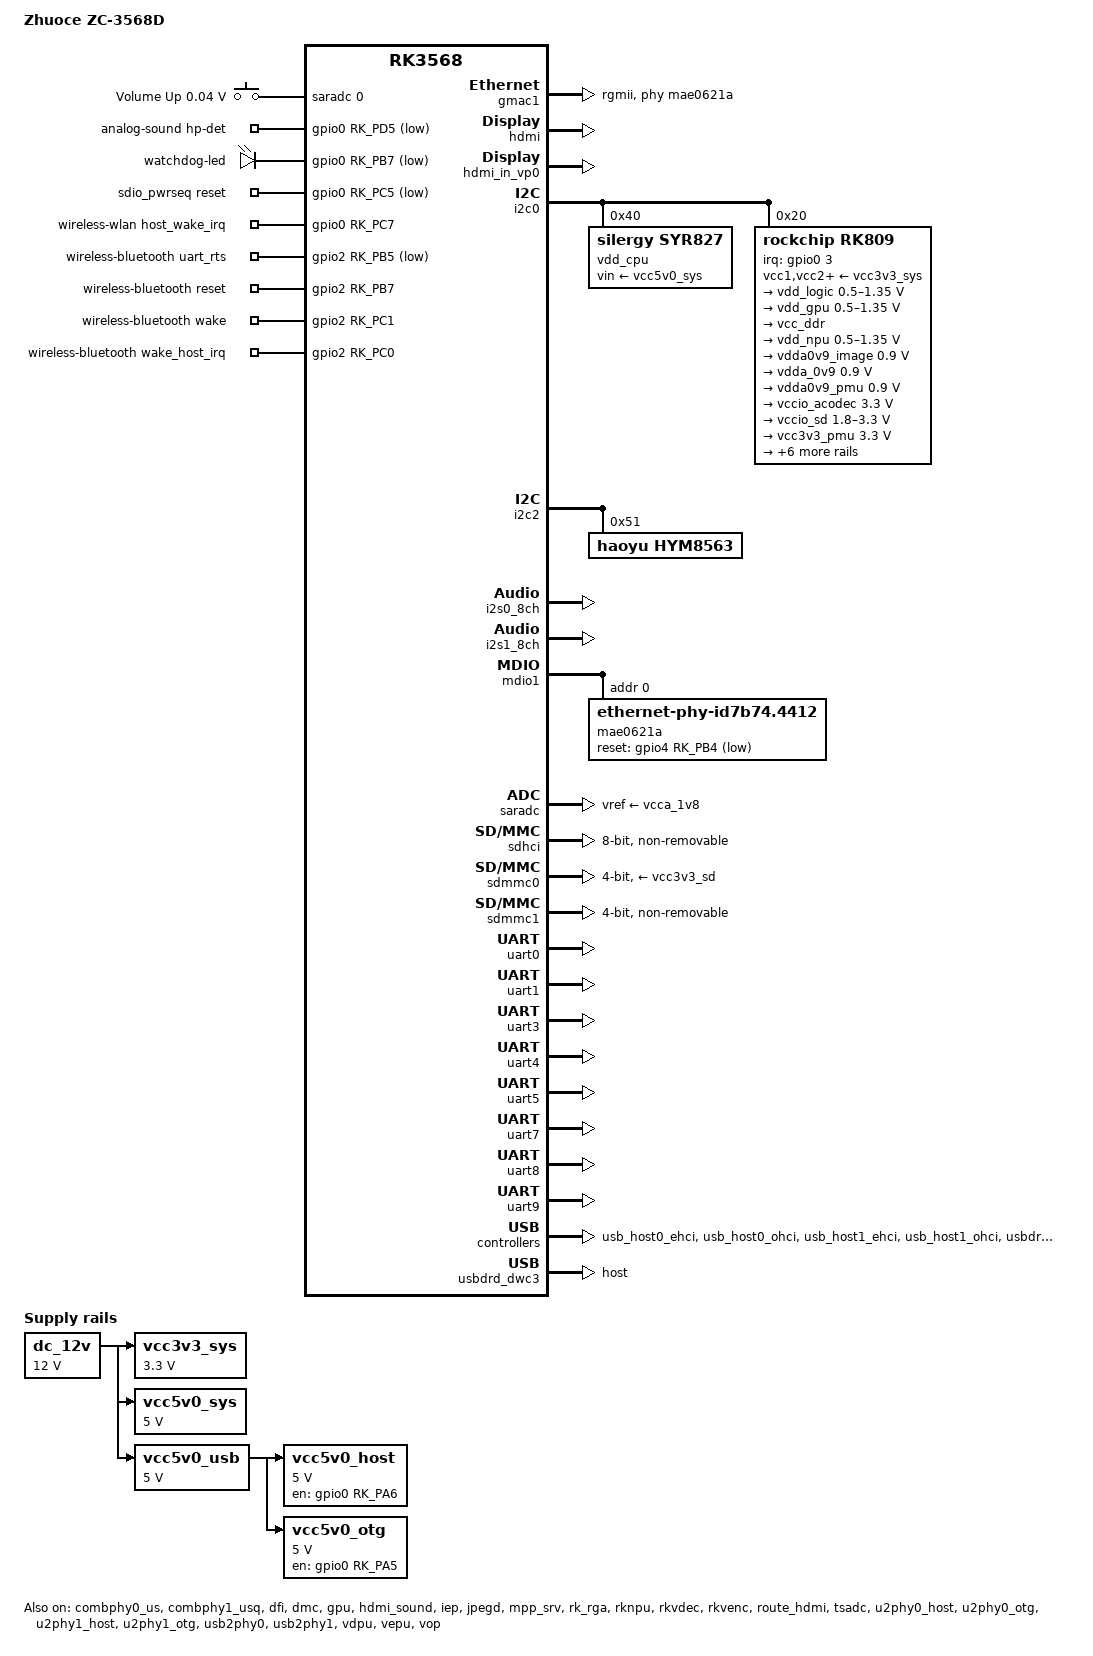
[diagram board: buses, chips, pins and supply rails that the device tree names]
// SPDX-License-Identifier: (GPL-2.0+ OR MIT)
/*
 * Copyright (c) 2022 Fuzhou Rockchip Electronics Co., Ltd.
 * Copyright (c) 2026 retro98boy <retro98boy@qq.com>
 */

/dts-v1/;

#include <dt-bindings/gpio/gpio.h>
#include <dt-bindings/input/input.h>
#include <dt-bindings/pinctrl/rockchip.h>
#include "rk3568.dtsi"
/*
 * Include configurations for the Linux system.
 * Replace this with rk3568-android.dtsi to
 * adapt this DTS for the Android system.
 */
#include "rk3568-linux.dtsi"

#define USE_PANFROST

/ {
	model = "Zhuoce ZC-3568D";
	compatible = "zhuoce,zc-3568d", "rockchip,rk3568";

	adc-keys {
		compatible = "adc-keys";
		io-channels = <&saradc 0>;
		io-channel-names = "buttons";
		keyup-threshold-microvolt = <1800000>;
		poll-interval = <50>;

		button-volume-up {
			label = "Volume Up";
			linux,code = <KEY_VOLUMEUP>;
			press-threshold-microvolt = <40000>;
		};
	};

	aliases {
		/delete-property/ ethernet1;
		ethernet0 = &gmac1;
		rtc0 = &hym8563;
		rtc1 = &rk809;
	};

	analog-sound {
		compatible = "rockchip,multicodecs-card";
		rockchip,card-name = "zc-3568d";
		rockchip,format = "i2s";
		rockchip,mclk-fs = <256>;
		rockchip,cpu = <&i2s1_8ch>;
		rockchip,codec = <&rk809_codec>;
		hp-det-gpio = <&gpio0 RK_PD5 GPIO_ACTIVE_LOW>;
		pinctrl-names = "default";
		pinctrl-0 = <&hp_det>;
	};

	leds {
		compatible = "gpio-leds";

		watchdog-led {
			gpios = <&gpio0 RK_PB7 GPIO_ACTIVE_LOW>;
			linux,default-trigger = "heartbeat";
		};
	};

	sdio_pwrseq: sdio-pwrseq {
		compatible = "mmc-pwrseq-simple";
		clocks = <&rk809 1>;
		clock-names = "ext_clock";
		pinctrl-names = "default";
		pinctrl-0 = <&wifi_enable_h>;

		reset-gpios = <&gpio0 RK_PC5 GPIO_ACTIVE_LOW>;
		post-power-on-delay-ms = <200>;
	};

	wireless-wlan {
		compatible = "wlan-platdata";
		rockchip,grf = <&grf>;
		wifi_chip_type = "aic8800";
		WIFI,host_wake_irq = <&gpio0 RK_PC7 GPIO_ACTIVE_HIGH>;
		pinctrl-names = "default";
		pinctrl-0 = <&wifi_host_wake_irq>;
	};

	wireless-bluetooth {
		compatible = "bluetooth-platdata";
		bt_port = "/dev/ttyS1";
		clocks = <&rk809 1>;
		clock-names = "ext_clock";
		uart_rts_gpios = <&gpio2 RK_PB5 GPIO_ACTIVE_LOW>;
		pinctrl-names = "default", "rts_gpio";
		pinctrl-0 = <&uart1m0_rtsn>;
		pinctrl-1 = <&uart1_gpios>;
		BT,reset_gpio = <&gpio2 RK_PB7 GPIO_ACTIVE_HIGH>;
		BT,wake_gpio = <&gpio2 RK_PC1 GPIO_ACTIVE_HIGH>;
		BT,wake_host_irq = <&gpio2 RK_PC0 GPIO_ACTIVE_HIGH>;
	};

	dc_12v: regulator-dc-12v {
		compatible = "regulator-fixed";
		regulator-name = "dc_12v";
		regulator-always-on;
		regulator-boot-on;
		regulator-min-microvolt = <12000000>;
		regulator-max-microvolt = <12000000>;
	};

	vcc3v3_sys: regulator-vcc3v3-sys {
		compatible = "regulator-fixed";
		regulator-name = "vcc3v3_sys";
		regulator-always-on;
		regulator-boot-on;
		regulator-min-microvolt = <3300000>;
		regulator-max-microvolt = <3300000>;
		vin-supply = <&dc_12v>;
	};

	vcc5v0_sys: regulator-vcc5v0-sys {
		compatible = "regulator-fixed";
		regulator-name = "vcc5v0_sys";
		regulator-always-on;
		regulator-boot-on;
		regulator-min-microvolt = <5000000>;
		regulator-max-microvolt = <5000000>;
		vin-supply = <&dc_12v>;
	};

	vcc5v0_usb: regulator-vcc5v0-usb {
		compatible = "regulator-fixed";
		regulator-name = "vcc5v0_usb";
		regulator-always-on;
		regulator-boot-on;
		regulator-min-microvolt = <5000000>;
		regulator-max-microvolt = <5000000>;
		vin-supply = <&dc_12v>;
	};

	vcc5v0_host: regulator-vcc5v0-host {
		compatible = "regulator-fixed";
		regulator-name = "vcc5v0_host";
		regulator-boot-on;
		regulator-always-on;
		enable-active-high;
		gpio = <&gpio0 RK_PA6 GPIO_ACTIVE_HIGH>;
		pinctrl-names = "default";
		pinctrl-0 = <&vcc5v0_host_en>;
		regulator-min-microvolt = <5000000>;
		regulator-max-microvolt = <5000000>;
		vin-supply = <&vcc5v0_usb>;
	};

	vcc5v0_otg: regulator-vcc5v0-otg {
		compatible = "regulator-fixed";
		regulator-name = "vcc5v0_otg";
		enable-active-high;
		gpio = <&gpio0 RK_PA5 GPIO_ACTIVE_HIGH>;
		pinctrl-names = "default";
		pinctrl-0 = <&vcc5v0_otg_en>;
		regulator-min-microvolt = <5000000>;
		regulator-max-microvolt = <5000000>;
		vin-supply = <&vcc5v0_usb>;
	};
};

&chosen {
	/* Override incompatible settings from rk3562-linux.dtsi */
	bootargs = "earlycon=uart8250,mmio32,0xfe660000 console=ttyFIQ0";
};

&combphy0_us {
	status = "okay";
};

&combphy1_usq {
	status = "okay";
};

&cpu0 {
	cpu-supply = <&vdd_cpu>;
};

&cpu1 {
	cpu-supply = <&vdd_cpu>;
};

&cpu2 {
	cpu-supply = <&vdd_cpu>;
};

&cpu3 {
	cpu-supply = <&vdd_cpu>;
};

&dfi {
	status = "okay";
};

&dmc {
	center-supply = <&vdd_logic>;
	status = "okay";
};

&gmac1 {
	phy-mode = "rgmii";
	clock_in_out = "input";
	assigned-clocks = <&cru SCLK_GMAC1_RX_TX>, <&cru SCLK_GMAC1>;
	assigned-clock-parents = <&cru SCLK_GMAC1_RGMII_SPEED>, <&gmac1_clkin>;
	pinctrl-names = "default";
	pinctrl-0 = <&gmac1m1_miim
		&gmac1m1_tx_bus2
		&gmac1m1_rx_bus2
		&gmac1m1_rgmii_clk
		&gmac1m1_rgmii_bus
		&gmac1m1_clkinout>;
	tx_delay = <0x46>;
	rx_delay = <0x2f>;
	phy-handle = <&mae0621a>;
	status = "okay";
};

&gpu {
#ifdef USE_PANFROST
/* armbian/linux-rockchip already patches the shared rk356x.dtsi. */
#endif
	mali-supply = <&vdd_gpu>;
	status = "okay";
};

&hdmi {
	avdd-0v9-supply = <&vdda0v9_image>;
	avdd-1v8-supply = <&vcca1v8_image>;
	status = "okay";
};

&hdmi_in_vp0 {
	status = "okay";
};

&hdmi_in_vp1 {
	status = "disabled";
};

&hdmi_sound {
	status = "okay";
};

&i2c0 {
	status = "okay";

	vdd_cpu: regulator@40 {
		compatible = "silergy,syr827";
		fcs,suspend-voltage-selector = <0x01>;

		reg = <0x40>;
		regulator-always-on;
		regulator-boot-on;
		regulator-init-microvolt = <900000>;
		regulator-max-microvolt = <1390000>;
		regulator-min-microvolt = <712500>;
		regulator-name = "vdd_cpu";
		regulator-ramp-delay = <2300>;
		vin-supply = <&vcc5v0_sys>;

		regulator-state-mem {
			regulator-off-in-suspend;
		};
	};

	rk809: pmic@20 {
		compatible = "rockchip,rk809";
		reg = <0x20>;
		interrupt-parent = <&gpio0>;
		interrupts = <3 IRQ_TYPE_LEVEL_LOW>;

		pinctrl-names = "default", "pmic-sleep",
				"pmic-power-off", "pmic-reset";
		pinctrl-0 = <&pmic_int>;
		pinctrl-1 = <&soc_slppin_slp>, <&rk817_slppin_slp>;
		pinctrl-2 = <&soc_slppin_gpio>, <&rk817_slppin_pwrdn>;
		pinctrl-3 = <&soc_slppin_gpio>, <&rk817_slppin_rst>;

		rockchip,system-power-controller;
		wakeup-source;
		#clock-cells = <1>;
		clock-output-names = "rk808-clkout1", "rk808-clkout2";
		/* 1: rst regs (default in codes), 0: rst the pmic */
		pmic-reset-func = <0>;
		/* not save the PMIC_POWER_EN register in uboot */
		not-save-power-en = <1>;

		vcc1-supply = <&vcc3v3_sys>;
		vcc2-supply = <&vcc3v3_sys>;
		vcc3-supply = <&vcc3v3_sys>;
		vcc4-supply = <&vcc3v3_sys>;
		vcc5-supply = <&vcc3v3_sys>;
		vcc6-supply = <&vcc3v3_sys>;
		vcc7-supply = <&vcc3v3_sys>;
		vcc8-supply = <&vcc3v3_sys>;
		vcc9-supply = <&vcc3v3_sys>;

		pwrkey {
			status = "okay";
		};

		pinctrl_rk8xx: pinctrl_rk8xx {
			gpio-controller;
			#gpio-cells = <2>;

			rk817_slppin_null: rk817_slppin_null {
				pins = "gpio_slp";
				function = "pin_fun0";
			};

			rk817_slppin_slp: rk817_slppin_slp {
				pins = "gpio_slp";
				function = "pin_fun1";
			};

			rk817_slppin_pwrdn: rk817_slppin_pwrdn {
				pins = "gpio_slp";
				function = "pin_fun2";
			};

			rk817_slppin_rst: rk817_slppin_rst {
				pins = "gpio_slp";
				function = "pin_fun3";
			};
		};

		regulators {
			vdd_logic: DCDC_REG1 {
				regulator-always-on;
				regulator-boot-on;
				regulator-min-microvolt = <500000>;
				regulator-max-microvolt = <1350000>;
				regulator-init-microvolt = <900000>;
				regulator-ramp-delay = <6001>;
				regulator-initial-mode = <0x2>;
				regulator-name = "vdd_logic";
				regulator-state-mem {
					regulator-off-in-suspend;
				};
			};

			vdd_gpu: DCDC_REG2 {
				regulator-always-on;
				regulator-boot-on;
				regulator-min-microvolt = <500000>;
				regulator-max-microvolt = <1350000>;
				regulator-init-microvolt = <900000>;
				regulator-ramp-delay = <6001>;
				regulator-initial-mode = <0x2>;
				regulator-name = "vdd_gpu";
				regulator-state-mem {
					regulator-off-in-suspend;
				};
			};

			vcc_ddr: DCDC_REG3 {
				regulator-always-on;
				regulator-boot-on;
				regulator-initial-mode = <0x2>;
				regulator-name = "vcc_ddr";
				regulator-state-mem {
					regulator-on-in-suspend;
				};
			};

			vdd_npu: DCDC_REG4 {
				regulator-always-on;
				regulator-boot-on;
				regulator-min-microvolt = <500000>;
				regulator-max-microvolt = <1350000>;
				regulator-init-microvolt = <900000>;
				regulator-ramp-delay = <6001>;
				regulator-initial-mode = <0x2>;
				regulator-name = "vdd_npu";
				regulator-state-mem {
					regulator-off-in-suspend;
				};
			};

			vdda0v9_image: LDO_REG1 {
				regulator-boot-on;
				regulator-always-on;
				regulator-min-microvolt = <900000>;
				regulator-max-microvolt = <900000>;
				regulator-name = "vdda0v9_image";
				regulator-state-mem {
					regulator-off-in-suspend;
				};
			};

			vdda_0v9: LDO_REG2 {
				regulator-always-on;
				regulator-boot-on;
				regulator-min-microvolt = <900000>;
				regulator-max-microvolt = <900000>;
				regulator-name = "vdda_0v9";
				regulator-state-mem {
					regulator-off-in-suspend;
				};
			};

			vdda0v9_pmu: LDO_REG3 {
				regulator-always-on;
				regulator-boot-on;
				regulator-min-microvolt = <900000>;
				regulator-max-microvolt = <900000>;
				regulator-name = "vdda0v9_pmu";
				regulator-state-mem {
					regulator-on-in-suspend;
					regulator-suspend-microvolt = <900000>;
				};
			};

			vccio_acodec: LDO_REG4 {
				regulator-always-on;
				regulator-boot-on;
				regulator-min-microvolt = <3300000>;
				regulator-max-microvolt = <3300000>;
				regulator-name = "vccio_acodec";
				regulator-state-mem {
					regulator-off-in-suspend;
				};
			};

			vccio_sd: LDO_REG5 {
				regulator-always-on;
				regulator-boot-on;
				regulator-min-microvolt = <1800000>;
				regulator-max-microvolt = <3300000>;
				regulator-name = "vccio_sd";
				regulator-state-mem {
					regulator-off-in-suspend;
				};
			};

			vcc3v3_pmu: LDO_REG6 {
				regulator-always-on;
				regulator-boot-on;
				regulator-min-microvolt = <3300000>;
				regulator-max-microvolt = <3300000>;
				regulator-name = "vcc3v3_pmu";
				regulator-state-mem {
					regulator-on-in-suspend;
					regulator-suspend-microvolt = <3300000>;
				};
			};

			vcca_1v8: LDO_REG7 {
				regulator-always-on;
				regulator-boot-on;
				regulator-min-microvolt = <1800000>;
				regulator-max-microvolt = <1800000>;
				regulator-name = "vcca_1v8";
				regulator-state-mem {
					regulator-off-in-suspend;
				};
			};

			vcca1v8_pmu: LDO_REG8 {
				regulator-always-on;
				regulator-boot-on;
				regulator-min-microvolt = <1800000>;
				regulator-max-microvolt = <1800000>;
				regulator-name = "vcca1v8_pmu";
				regulator-state-mem {
					regulator-on-in-suspend;
					regulator-suspend-microvolt = <1800000>;
				};
			};

			vcca1v8_image: LDO_REG9 {
				regulator-always-on;
				regulator-boot-on;
				regulator-min-microvolt = <1800000>;
				regulator-max-microvolt = <1800000>;
				regulator-name = "vcca1v8_image";
				regulator-state-mem {
					regulator-off-in-suspend;
				};
			};

			vcc_1v8: DCDC_REG5 {
				regulator-always-on;
				regulator-boot-on;
				regulator-min-microvolt = <1800000>;
				regulator-max-microvolt = <1800000>;
				regulator-name = "vcc_1v8";
				regulator-state-mem {
					regulator-off-in-suspend;
				};
			};

			vcc_3v3: SWITCH_REG1 {
				regulator-always-on;
				regulator-boot-on;
				regulator-name = "vcc_3v3";
				regulator-state-mem {
					regulator-off-in-suspend;
				};
			};

			vcc3v3_sd: SWITCH_REG2 {
				regulator-always-on;
				regulator-boot-on;
				regulator-name = "vcc3v3_sd";
				regulator-state-mem {
					regulator-off-in-suspend;
				};
			};
		};

		rk809_codec: codec {
			#sound-dai-cells = <0>;
			compatible = "rockchip,rk809-codec", "rockchip,rk817-codec";
			clocks = <&cru I2S1_MCLKOUT>;
			clock-names = "mclk";
			assigned-clocks = <&cru I2S1_MCLKOUT>, <&cru I2S1_MCLK_TX_IOE>;
			assigned-clock-rates = <12288000>;
			assigned-clock-parents = <&cru I2S1_MCLKOUT_TX>, <&cru I2S1_MCLKOUT_TX>;
			pinctrl-names = "default";
			pinctrl-0 = <&i2s1m0_mclk>;
			hp-volume = <20>;
			spk-volume = <3>;
			/* The headphone jack and external PA share the RK809 analog outputs. */
			use-ext-amplifier;
			mic-in-differential;
			spk-ctl-gpios = <&gpio4 RK_PB3 GPIO_ACTIVE_LOW>;
			status = "okay";
		};
	};
};

&i2c2 {
	status = "okay";
	hym8563: rtc@51 {
		compatible = "haoyu,hym8563";
		reg = <0x51>;
		#clock-cells = <0>;
	};
};

&i2s0_8ch {
	status = "okay";
};

&i2s1_8ch {
	rockchip,trcm-sync-tx-only;
	pinctrl-names = "default";
	pinctrl-0 = <&i2s1m0_sclktx
		&i2s1m0_lrcktx
		&i2s1m0_sdi0
		&i2s1m0_sdo0>;
	status = "okay";
};

&iep {
	status = "okay";
};

&iep_mmu {
	status = "okay";
};

&jpegd {
	status = "okay";
};

&jpegd_mmu {
	status = "okay";
};

&mdio1 {
	mae0621a: ethernet-phy@0 {
		compatible = "ethernet-phy-id7b74.4412", "ethernet-phy-ieee802.3-c22";
		reg = <0>;
		reset-gpios = <&gpio4 RK_PB4 GPIO_ACTIVE_LOW>;
		reset-assert-us = <20000>;
		reset-deassert-us = <100000>;
	};
};

&mpp_srv {
	status = "okay";
};

&pinctrl {
	pinctrl-names = "default";
	pinctrl-0 = <&external_watchdog_default_off>;

	/*
	 * GPIO0_D3 is the active-high enable input of the external watchdog (STC8H1K08 MCU).
	 * Userspace feeds the watchdog by toggling GPIO0_D4 every 500 ms.
	 * Cold-start enable without feeding produced DDR boot output after 21.215 seconds.
	 * Stopping the heartbeat with enable high produced DDR boot output after 21.192 seconds.
	 * Both tests remained alive at 20 seconds; these measurements include reset-to-DDR-output latency.
	 * No additional timeout allowance was observed for the first heartbeat.
	 * Enable low prevented resets throughout a 180-second test without feeding.
	 * However, longer tests still observed unexpected reboots after more than ten minutes
	 * with enable held low. The cause of these delayed reboots has not been confirmed;
	 * the short test does not prove that enable low reliably disables watchdog resets.
	 * Continuous feeding with enable high is recommended instead of relying on enable low.
	 * Initialize enable low without reserving the GPIO, allowing userspace to enable it later.
	 * This takes effect during pinctrl initialization, not during BootROM or Maskrom execution.
	 */
	external-watchdog {
		external_watchdog_default_off: external-watchdog-default-off {
			rockchip,pins = <0 RK_PD3 RK_FUNC_GPIO &pcfg_output_low>;
		};
	};

	headphone {
		hp_det: hp-det {
			rockchip,pins = <0 RK_PD5 RK_FUNC_GPIO &pcfg_pull_down>;
		};
	};

	pmic {
		pmic_int: pmic_int {
			rockchip,pins =
				<0 RK_PA3 RK_FUNC_GPIO &pcfg_pull_up>;
		};

		soc_slppin_gpio: soc_slppin_gpio {
			rockchip,pins =
				<0 RK_PA2 RK_FUNC_GPIO &pcfg_output_low_pull_down>;
		};

		soc_slppin_slp: soc_slppin_slp {
			rockchip,pins =
				<0 RK_PA2 1 &pcfg_pull_up>;
		};

		soc_slppin_rst: soc_slppin_rst {
			rockchip,pins =
				<0 RK_PA2 2 &pcfg_pull_none>;
		};
	};

	sdio-pwrseq {
		wifi_enable_h: wifi-enable-h {
			rockchip,pins = <0 RK_PC5 RK_FUNC_GPIO &pcfg_pull_none>;
		};
	};

	wireless-wlan {
		wifi_host_wake_irq: wifi-host-wake-irq {
			rockchip,pins = <0 RK_PC7 RK_FUNC_GPIO &pcfg_pull_down>;
		};
	};

	wireless-bluetooth {
		uart1_gpios: uart1-gpios {
			rockchip,pins = <2 RK_PB5 RK_FUNC_GPIO &pcfg_pull_none>;
		};
	};

	usb {
		vcc5v0_host_en: vcc5v0-host-en {
			rockchip,pins = <0 RK_PA6 RK_FUNC_GPIO &pcfg_pull_none>;
		};

		vcc5v0_otg_en: vcc5v0-otg-en {
			rockchip,pins = <0 RK_PA5 RK_FUNC_GPIO &pcfg_pull_none>;
		};
	};
};

&pmu_io_domains {
	pmuio1-supply = <&vcc3v3_pmu>;
	pmuio2-supply = <&vcc3v3_pmu>;
	vccio1-supply = <&vccio_acodec>;
	vccio3-supply = <&vccio_sd>;
	vccio4-supply = <&vcc_1v8>;
	vccio5-supply = <&vcc_3v3>;
	vccio6-supply = <&vcc_3v3>;
	vccio7-supply = <&vcc_3v3>;
	status = "okay";
};

&rk_rga {
	status = "okay";
};

&rknpu {
	rknpu-supply = <&vdd_npu>;
	status = "okay";
};

&rknpu_mmu {
	status = "okay";
};

&rkvdec {
	status = "okay";
};

&rkvdec_mmu {
	status = "okay";
};

&rkvenc {
	venc-supply = <&vdd_logic>;
	status = "okay";
};

&rkvenc_mmu {
	status = "okay";
};

&route_hdmi {
	status = "okay";
	connect = <&vp0_out_hdmi>;
};

&saradc {
	vref-supply = <&vcca_1v8>;
	status = "okay";
};

&sdhci {
	max-frequency = <200000000>;
	bus-width = <8>;
	no-sdio;
	no-sd;
	non-removable;
	mmc-hs200-1_8v;
	full-pwr-cycle-in-suspend;
	status = "okay";
};

&sdmmc0 {
	no-sdio;
	no-mmc;
	bus-width = <4>;
	cap-mmc-highspeed;
	cap-sd-highspeed;
	disable-wp;
	pinctrl-names = "default";
	pinctrl-0 = <&sdmmc0_bus4 &sdmmc0_clk &sdmmc0_cmd &sdmmc0_det>;
	sd-uhs-sdr104;
	vmmc-supply = <&vcc3v3_sd>;
	vqmmc-supply = <&vccio_sd>;
	status = "okay";
};

&sdmmc1 {
	no-sd;
	no-mmc;
	bus-width = <4>;
	disable-wp;
	cap-sd-highspeed;
	cap-sdio-irq;
	keep-power-in-suspend;
	mmc-pwrseq = <&sdio_pwrseq>;
	non-removable;
	pinctrl-names = "default";
	pinctrl-0 = <&sdmmc1_bus4 &sdmmc1_cmd &sdmmc1_clk>;
	status = "okay";
};

&tsadc {
	status = "okay";
};

&u2phy0_host {
	phy-supply = <&vcc5v0_host>;
	status = "okay";
};

&u2phy0_otg {
	vbus-supply = <&vcc5v0_otg>;
	status = "okay";
};

&u2phy1_host {
	phy-supply = <&vcc5v0_host>;
	status = "okay";
};

&u2phy1_otg {
	phy-supply = <&vcc5v0_host>;
	status = "okay";
};

&uart0 {
	pinctrl-names = "default";
	pinctrl-0 = <&uart0_xfer>;
	status = "okay";
};

&uart1 {
	dma-names = "tx", "rx";
	pinctrl-names = "default";
	pinctrl-0 = <&uart1m0_xfer &uart1m0_ctsn>;
	uart-has-rtscts;
	status = "okay";
};

&uart3 {
	pinctrl-names = "default";
	pinctrl-0 = <&uart3m1_xfer>;
	status = "okay";
};

&uart4 {
	pinctrl-names = "default";
	pinctrl-0 = <&uart4m0_xfer>;
	status = "okay";
};

&uart5 {
	pinctrl-names = "default";
	pinctrl-0 = <&uart5m1_xfer>;
	status = "okay";
};

&uart7 {
	pinctrl-names = "default";
	pinctrl-0 = <&uart7m1_xfer>;
	status = "okay";
};

&uart8 {
	pinctrl-names = "default";
	pinctrl-0 = <&uart8m0_xfer>;
	status = "okay";
};

&uart9 {
	pinctrl-names = "default";
	pinctrl-0 = <&uart9m1_xfer>;
	status = "okay";
};

&usb2phy0 {
	status = "okay";
};

&usb2phy1 {
	status = "okay";
};

&usb_host0_ehci {
	status = "okay";
};

&usb_host0_ohci {
	status = "okay";
};

&usb_host1_ehci {
	status = "okay";
};

&usb_host1_ohci {
	status = "okay";
};

&usbdrd30 {
	status = "okay";
};

/* Type-A: USB3.0-OTG */
&usbdrd_dwc3 {
	dr_mode = "host";
	status = "okay";
};

&usbhost30 {
	status = "okay";
};

&usbhost_dwc3 {
	status = "okay";
};

&vdpu {
	status = "okay";
};

&vdpu_mmu {
	status = "okay";
};

&vepu {
	status = "okay";
};

&vepu_mmu {
	status = "okay";
};

&vop {
	vop-supply = <&vdd_logic>;
	status = "okay";
};

&vop_mmu {
	status = "okay";
};

/* Disable the unused camera capture pipeline. */
&csi2_dphy_hw {
	status = "disabled";
};

&csi2_dphy0 {
	status = "disabled";
};

&csi2_dphy1 {
	status = "disabled";
};

&csi2_dphy2 {
	status = "disabled";
};

&mipi_csi2 {
	status = "disabled";
};

&mipi_csi2_hw {
	status = "disabled";
};

&rkcif {
	status = "disabled";
};

&rkcif_mmu {
	status = "disabled";
};

&rkcif_dvp {
	status = "disabled";
};

&rkcif_dvp_sditf {
	status = "disabled";
};

&rkcif_mipi_lvds {
	status = "disabled";
};

&rkcif_mipi_lvds_sditf {
	status = "disabled";
};

&rkisp {
	status = "disabled";
};

&rkisp_mmu {
	status = "disabled";
};

&rkisp_vir0 {
	status = "disabled";
};

&rkisp_vir1 {
	status = "disabled";
};
